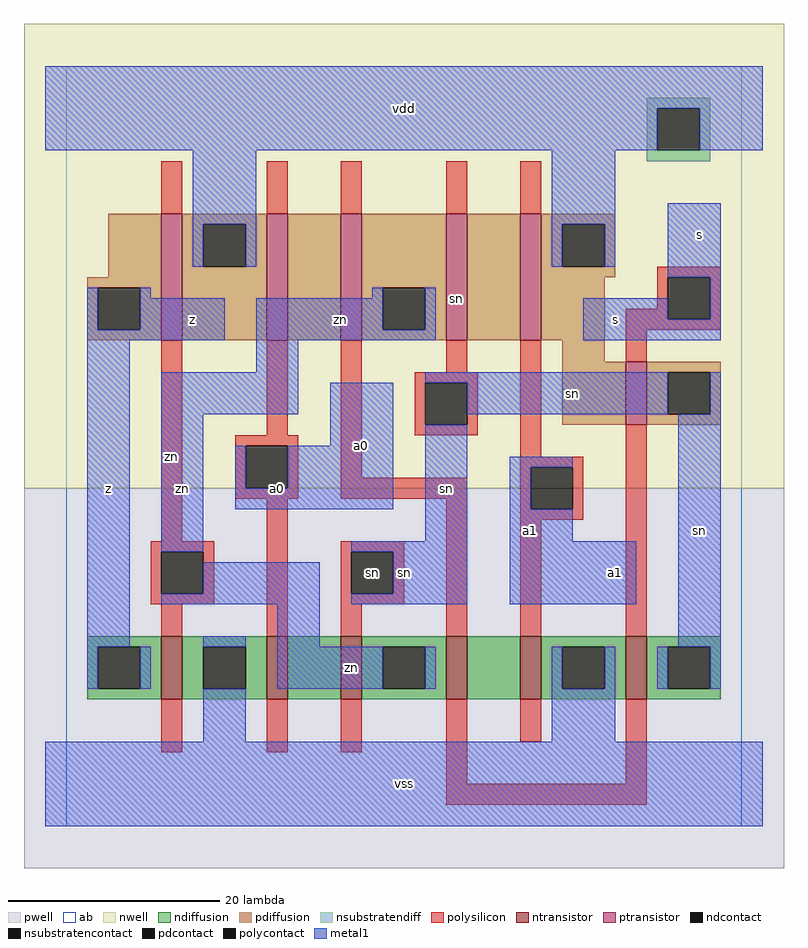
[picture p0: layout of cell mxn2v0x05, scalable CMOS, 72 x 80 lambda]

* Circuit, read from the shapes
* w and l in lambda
.subckt mxn2v0x05 a0 a1 s sn vdd vss z zn
M1 vss zn z VSUBS nfet w=6 l=2
M2 n1 a0 vss VSUBS nfet w=6 l=2
M3 zn sn n1 VSUBS nfet w=6 l=2
M4 n2 s zn VSUBS nfet w=6 l=2
M5 vss a1 n2 VSUBS nfet w=6 l=2
M6 sn s vss VSUBS nfet w=6 l=2
M7 vdd zn z vdd pfet w=12 l=2
M8 n3 a0 vdd vdd pfet w=12 l=2
M9 zn s n3 vdd pfet w=12 l=2
M10 n4 sn zn vdd pfet w=12 l=2
M11 vdd a1 n4 vdd pfet w=12 l=2
M12 sn s vdd vdd pfet w=6 l=2
.ends

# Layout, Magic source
magic
tech scmos
<< ab >>
rect 0 0 64 72
<< pwell >>
rect -4 -4 68 32
<< nwell >>
rect -4 32 68 76
<< polysilicon >>
rect 9 58 11 63
rect 19 58 21 63
rect 26 58 28 63
rect 36 58 38 63
rect 43 58 45 63
rect 56 52 62 53
rect 56 49 57 52
rect 9 27 11 46
rect 19 37 21 46
rect 16 36 22 37
rect 16 32 17 36
rect 21 32 22 36
rect 16 31 22 32
rect 26 33 28 46
rect 36 43 38 46
rect 33 42 39 43
rect 33 38 34 42
rect 38 38 39 42
rect 33 37 39 38
rect 43 35 45 46
rect 53 48 57 49
rect 61 48 62 52
rect 53 47 62 48
rect 53 44 55 47
rect 43 34 49 35
rect 26 31 38 33
rect 8 26 14 27
rect 8 22 9 26
rect 13 22 14 26
rect 8 21 14 22
rect 9 18 11 21
rect 19 18 21 31
rect 26 26 32 27
rect 26 22 27 26
rect 31 22 32 26
rect 26 21 32 22
rect 26 18 28 21
rect 36 18 38 31
rect 43 30 44 34
rect 48 30 49 34
rect 43 29 49 30
rect 43 18 45 29
rect 53 18 55 38
rect 9 7 11 12
rect 19 7 21 12
rect 26 7 28 12
rect 36 4 38 12
rect 43 8 45 12
rect 53 4 55 12
rect 36 2 55 4
<< ndiffusion >>
rect 2 17 9 18
rect 2 13 3 17
rect 7 13 9 17
rect 2 12 9 13
rect 11 17 19 18
rect 11 13 13 17
rect 17 13 19 17
rect 11 12 19 13
rect 21 12 26 18
rect 28 17 36 18
rect 28 13 30 17
rect 34 13 36 17
rect 28 12 36 13
rect 38 12 43 18
rect 45 17 53 18
rect 45 13 47 17
rect 51 13 53 17
rect 45 12 53 13
rect 55 17 62 18
rect 55 13 57 17
rect 61 13 62 17
rect 55 12 62 13
<< pdiffusion >>
rect 4 52 9 58
rect 2 51 9 52
rect 2 47 3 51
rect 7 47 9 51
rect 2 46 9 47
rect 11 57 19 58
rect 11 53 13 57
rect 17 53 19 57
rect 11 46 19 53
rect 21 46 26 58
rect 28 51 36 58
rect 28 47 30 51
rect 34 47 36 51
rect 28 46 36 47
rect 38 46 43 58
rect 45 57 52 58
rect 45 53 47 57
rect 51 53 52 57
rect 45 52 52 53
rect 45 46 51 52
rect 47 44 51 46
rect 47 38 53 44
rect 55 43 62 44
rect 55 39 57 43
rect 61 39 62 43
rect 55 38 62 39
<< metal1 >>
rect -2 68 66 72
rect -2 64 56 68
rect 60 64 66 68
rect 12 57 18 64
rect 12 53 13 57
rect 17 53 18 57
rect 46 57 52 64
rect 46 53 47 57
rect 51 53 52 57
rect 57 52 62 59
rect 2 47 3 51
rect 7 50 8 51
rect 29 50 30 51
rect 7 47 15 50
rect 2 46 15 47
rect 18 47 30 50
rect 34 47 35 51
rect 18 46 35 47
rect 49 48 57 50
rect 61 48 62 52
rect 49 46 62 48
rect 2 17 6 46
rect 18 43 22 46
rect 9 39 22 43
rect 34 42 57 43
rect 9 26 13 39
rect 25 36 31 42
rect 16 32 17 36
rect 21 32 31 36
rect 16 30 31 32
rect 38 39 57 42
rect 61 39 62 43
rect 34 27 38 38
rect 27 26 38 27
rect 13 22 24 25
rect 9 21 24 22
rect 31 22 38 26
rect 27 21 38 22
rect 42 34 48 35
rect 42 30 44 34
rect 42 27 48 30
rect 42 21 54 27
rect 13 17 17 18
rect 2 13 3 17
rect 7 13 8 17
rect 20 17 24 21
rect 58 17 62 39
rect 20 13 30 17
rect 34 13 35 17
rect 46 13 47 17
rect 51 13 52 17
rect 56 13 57 17
rect 61 13 62 17
rect 13 8 17 13
rect 46 8 52 13
rect -2 0 66 8
<< ntransistor >>
rect 9 12 11 18
rect 19 12 21 18
rect 26 12 28 18
rect 36 12 38 18
rect 43 12 45 18
rect 53 12 55 18
<< ptransistor >>
rect 9 46 11 58
rect 19 46 21 58
rect 26 46 28 58
rect 36 46 38 58
rect 43 46 45 58
rect 53 38 55 44
<< polycontact >>
rect 17 32 21 36
rect 34 38 38 42
rect 57 48 61 52
rect 9 22 13 26
rect 27 22 31 26
rect 44 30 48 34
<< ndcontact >>
rect 3 13 7 17
rect 13 13 17 17
rect 30 13 34 17
rect 47 13 51 17
rect 57 13 61 17
<< pdcontact >>
rect 3 47 7 51
rect 13 53 17 57
rect 30 47 34 51
rect 47 53 51 57
rect 57 39 61 43
<< nsubstratencontact >>
rect 56 64 60 68
<< nsubstratendiff >>
rect 55 68 61 69
rect 55 64 56 68
rect 60 64 61 68
rect 55 63 61 64
<< labels >>
rlabel polysilicon 10 35 10 35 6 zn
rlabel polycontact 29 24 29 24 6 sn
rlabel ptransistor 37 50 37 50 6 sn
rlabel metal1 4 32 4 32 6 z
rlabel metal1 11 32 11 32 6 zn
rlabel metal1 12 48 12 48 6 z
rlabel metal1 20 32 20 32 6 a0
rlabel metal1 28 36 28 36 6 a0
rlabel metal1 32 4 32 4 6 vss
rlabel metal1 27 15 27 15 6 zn
rlabel metal1 32 24 32 24 6 sn
rlabel metal1 44 28 44 28 6 a1
rlabel metal1 36 32 36 32 6 sn
rlabel metal1 26 48 26 48 6 zn
rlabel metal1 32 68 32 68 6 vdd
rlabel metal1 52 24 52 24 6 a1
rlabel metal1 60 28 60 28 6 sn
rlabel metal1 52 48 52 48 6 s
rlabel metal1 48 41 48 41 6 sn
rlabel metal1 60 56 60 56 6 s
<< end >>
